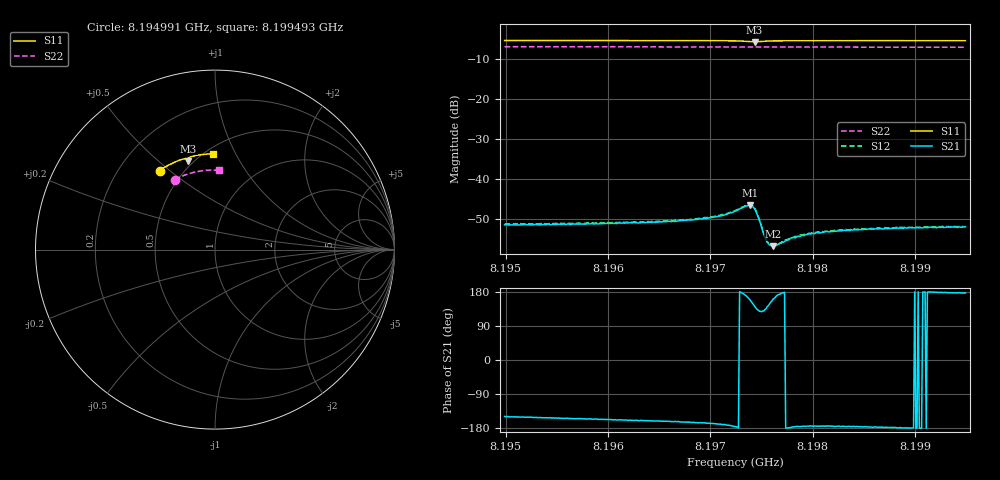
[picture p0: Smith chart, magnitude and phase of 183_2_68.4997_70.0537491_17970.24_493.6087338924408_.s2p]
#  HZ  S  RI  R  50.00
! Rohde & Schwarz Vector Network Analyzer
! Rohde-Schwarz,ZNB20-2Port,1311601062101988,3.16
! Created: UTC 3/20/2024, 5:11:55 PM
! freq[Hz]  re:S11  im:S11  re:S21  im:S21  re:S12  im:S12  re:S22  im:S22
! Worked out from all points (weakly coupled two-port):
!   401 points, 8.194991 GHz to 8.199493 GHz, reference 50 ohm
!   highest |S21| = -46.70 dB at 8.197389 GHz (marker M1); lowest = -56.9 dB at 8.197614 GHz (marker M2)
!   lowest |S11| = -5.7 dB at 8.197434 GHz (marker M3), VSWR 3.13, Z = 23.4 + j31.6 ohm
!   |S11| at or under -10 dB: nowhere
!   |S22| runs from -7.1 to -6.9 dB; largest |S21 - S12| = 0.00023
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8.1949912e9  -0.3092 0.44  -0.00226 -0.00135  -0.00235 -0.00127  -0.2239 0.39
8.1957453e9  -0.2636 0.4681  -0.00244 -0.00113  -0.00254 -0.00106  -0.1857 0.4081
8.1964994e9  -0.2149 0.4915  -0.00271 -0.000915  -0.00282 -0.000807  -0.1459 0.4228
8.1969834e9  -0.181 0.5037  -0.00312 -0.000719  -0.00321 -0.000616  -0.1196 0.4301
8.1971184e9  -0.1702 0.5064  -0.0034 -0.000587  -0.00351 -0.000491  -0.1122 0.4319
8.1972422e9  -0.1592 0.5074  -0.0039 -0.000316  -0.00398 -0.000139  -0.1053 0.4333
8.1973435e9  -0.1488 0.5037  -0.00444 0.000702  -0.0045 0.000886  -0.0996 0.4343
8.1973886e9  -0.1464 0.4988  -0.00431 0.00168  -0.00434 0.00189  -0.0972 0.4346
8.1974111e9  -0.1471 0.4959  -0.00391 0.00219  -0.00392 0.00242  -0.0962 0.435
8.1974336e9  -0.1495 0.494  -0.00329 0.00257  -0.00328 0.00274  -0.0948 0.435
8.1974673e9  -0.1538 0.4948  -0.00223 0.00248  -0.00216 0.00265  -0.0931 0.4354
8.1975236e9  -0.1558 0.5018  -0.0013 0.00157  -0.00127 0.00162  -0.0903 0.4361
8.1975461e9  -0.1547 0.5044  -0.00121 0.00118  -0.00119 0.00126  -0.0889 0.4364
8.1975799e9  -0.1525 0.5075  -0.00126 0.000775  -0.00124 0.000833  -0.0872 0.4367
8.1976137e9  -0.1497 0.5099  -0.00134 0.00048  -0.00133 0.000569  -0.0851 0.4371
8.1976474e9  -0.147 0.5121  -0.00143 0.000273  -0.00146 0.000338  -0.0832 0.4375
8.1977937e9  -0.135 0.517  -0.0018 -8.46e-05  -0.00181 -2.8e-05  -0.075 0.4388
8.1979063e9  -0.1263 0.5196  -0.00195 -0.000174  -0.00198 -9.27e-05  -0.0687 0.4395
8.1979963e9  -0.1197 0.5213  -0.00205 -0.000197  -0.00207 -0.000123  -0.0637 0.4402
8.198244e9  -0.1016 0.5251  -0.0022 -0.000208  -0.00225 -9.11e-05  -0.0496 0.4416
8.1987504e9  -0.0653 0.5305  -0.00237 -8.08e-05  -0.00242 2.99e-05  -0.0209 0.4428
8.1994933e9  -0.0125 0.5335  -0.00249 0.000134  -0.00248 0.000301  0.0213 0.4414
